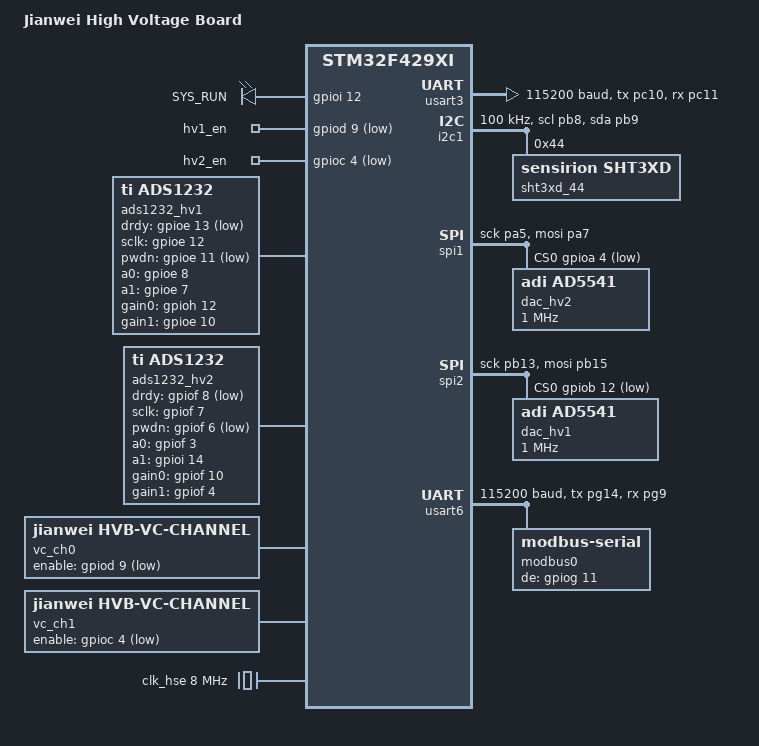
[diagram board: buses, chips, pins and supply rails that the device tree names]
/*
 * Copyright (c) 2026 Jianwei
 *
 * SPDX-License-Identifier: Apache-2.0
 */

/dts-v1/;

#include <st/f4/stm32f429Xi.dtsi>
#include <zephyr/dt-bindings/gpio/gpio.h>

#include "../../../dts/bindings/include/jianwei,vc-channel-capabilities.h"
#include <zephyr/dt-bindings/pinctrl/stm32-pinctrl.h>

/ {
	model = "Jianwei High Voltage Board";
	compatible = "jianwei,jw-hvb";

	chosen {
		zephyr,console = &usart3;
		zephyr,shell-uart = &usart3;
		zephyr,sram = &sram0;
		zephyr,flash = &flash0;
	};

	aliases {
		led0 = &sys_run;
	};

	leds {
		compatible = "gpio-leds";

		sys_run: sys_run {
			gpios = <&gpioi 12 GPIO_ACTIVE_HIGH>;
			label = "SYS_RUN";
		};
	};

	/* HV enable outputs — ACTIVE_LOW (safety-critical: physical HIGH = disabled, LOW = enabled)
	   GPIO_OUTPUT_INACTIVE at boot drives pins HIGH, keeping HV modules safely OFF until
	   explicitly enabled by firmware. */
	hv_enables {
		compatible = "gpio-leds";

		hv1_en: hv1_en {
			gpios = <&gpiod 9 GPIO_ACTIVE_LOW>;
		};

		hv2_en: hv2_en {
			gpios = <&gpioc 4 GPIO_ACTIVE_LOW>;
		};
	};

	/* HV1 ADS1232 ADC — GPIO bit-bang, not SPI */
	ads1232_hv1: ads1232_hv1 {
		compatible = "ti,ads1232";
		status = "okay";
		drdy-gpios = <&gpioe 13 (GPIO_ACTIVE_LOW | GPIO_PULL_UP)>;
		sclk-gpios = <&gpioe 12 GPIO_ACTIVE_HIGH>;
		pwdn-gpios = <&gpioe 11 GPIO_ACTIVE_LOW>;
		a0-gpios = <&gpioe 8 GPIO_ACTIVE_HIGH>;
		a1-gpios = <&gpioe 7 GPIO_ACTIVE_HIGH>;
		gain0-gpios = <&gpioh 12 GPIO_ACTIVE_HIGH>;
		gain1-gpios = <&gpioe 10 GPIO_ACTIVE_HIGH>;
		gain = <1>;
	};

	/* HV2 ADS1232 ADC */
	ads1232_hv2: ads1232_hv2 {
		compatible = "ti,ads1232";
		status = "okay";
		drdy-gpios = <&gpiof 8 (GPIO_ACTIVE_LOW | GPIO_PULL_UP)>;
		sclk-gpios = <&gpiof 7 GPIO_ACTIVE_HIGH>;
		pwdn-gpios = <&gpiof 6 GPIO_ACTIVE_LOW>;
		a0-gpios = <&gpiof 3 GPIO_ACTIVE_HIGH>;
		a1-gpios = <&gpioi 14 GPIO_ACTIVE_HIGH>;
		gain0-gpios = <&gpiof 10 GPIO_ACTIVE_HIGH>;
		gain1-gpios = <&gpiof 4 GPIO_ACTIVE_HIGH>;
		gain = <1>;
	};
};

&clk_hse {
	clock-frequency = <DT_FREQ_M(8)>;
	status = "okay";
};

&pll {
	div-m = <8>;
	mul-n = <336>;
	div-p = <2>;
	div-q = <7>;
	clocks = <&clk_hse>;
	status = "okay";
};

&rcc {
	clocks = <&pll>;
	clock-frequency = <DT_FREQ_M(168)>;
	ahb-prescaler = <1>;
	apb1-prescaler = <4>;
	apb2-prescaler = <2>;
};

&gpiog {
	status = "okay";
};

&gpioi {
	status = "okay";
};

&gpioc {
	status = "okay";
};

&gpiod {
	status = "okay";
};

&gpioa {
	status = "okay";
};

&gpiob {
	status = "okay";
};

&gpioe {
	status = "okay";
};

&gpiof {
	status = "okay";
};

&gpioh {
	status = "okay";
};

&usart3 {
	/*
	 * The debug header nets are named USART1_TX/RX in the schematic, but
	 * PC10/PC11 map to USART3_TX/RX on STM32F429.
	 */
	pinctrl-0 = <&usart3_tx_pc10 &usart3_rx_pc11>;
	pinctrl-names = "default";
	current-speed = <115200>;
	status = "okay";
};

&i2c1 {
	pinctrl-0 = <&i2c1_scl_pb8 &i2c1_sda_pb9>;
	pinctrl-names = "default";
	clock-frequency = <I2C_BITRATE_STANDARD>;
	status = "okay";

	sht3xd_44: sht3xd@44 {
		compatible = "sensirion,sht3xd";
		reg = <0x44>;
	};
};

/* SPI1 — HV2 AD5541 DAC */
&spi1 {
	pinctrl-0 = <&spi1_sck_pa5 &spi1_mosi_pa7>;
	pinctrl-names = "default";
	cs-gpios = <&gpioa 4 GPIO_ACTIVE_LOW>;
	status = "okay";

	dac_hv2: dac@0 {
		compatible = "adi,ad5541";
		reg = <0>;
		spi-max-frequency = <1000000>;
	};
};

/* SPI2 — HV1 AD5541 DAC */
&spi2 {
	pinctrl-0 = <&spi2_sck_pb13 &spi2_mosi_pb15>;
	pinctrl-names = "default";
	cs-gpios = <&gpiob 12 GPIO_ACTIVE_LOW>;
	status = "okay";

	dac_hv1: dac@0 {
		compatible = "adi,ad5541";
		reg = <0>;
		spi-max-frequency = <1000000>;
	};
};

&usart6 {
	pinctrl-0 = <&usart6_tx_pg14 &usart6_rx_pg9>;
	pinctrl-names = "default";
	current-speed = <115200>;
	status = "okay";

	modbus0 {
		compatible = "zephyr,modbus-serial";
		status = "okay";
		de-gpios = <&gpiog 11 GPIO_ACTIVE_HIGH>;
	};
};

&pinctrl {
	usart3_tx_pc10: usart3_tx_pc10 {
		pinmux = <STM32_PINMUX('C', 10, AF7)>;
	};

	usart3_rx_pc11: usart3_rx_pc11 {
		pinmux = <STM32_PINMUX('C', 11, AF7)>;
		bias-pull-up;
	};

	usart6_tx_pg14: usart6_tx_pg14 {
		pinmux = <STM32_PINMUX('G', 14, AF8)>;
	};

	usart6_rx_pg9: usart6_rx_pg9 {
		pinmux = <STM32_PINMUX('G', 9, AF8)>;
		bias-pull-up;
	};

	i2c1_scl_pb8: i2c1_scl_pb8 {
		pinmux = <STM32_PINMUX('B', 8, AF4)>;
		bias-pull-up;
		drive-open-drain;
	};

	i2c1_sda_pb9: i2c1_sda_pb9 {
		pinmux = <STM32_PINMUX('B', 9, AF4)>;
		bias-pull-up;
		drive-open-drain;
	};

	spi1_nss_pa4: spi1_nss_pa4 {
		pinmux = <STM32_PINMUX('A', 4, AF5)>;
	};

	spi1_sck_pa5: spi1_sck_pa5 {
		pinmux = <STM32_PINMUX('A', 5, AF5)>;
	};

	spi1_mosi_pa7: spi1_mosi_pa7 {
		pinmux = <STM32_PINMUX('A', 7, AF5)>;
	};

	spi2_nss_pb12: spi2_nss_pb12 {
		pinmux = <STM32_PINMUX('B', 12, AF5)>;
	};

	spi2_sck_pb13: spi2_sck_pb13 {
		pinmux = <STM32_PINMUX('B', 13, AF5)>;
	};

	spi2_mosi_pb15: spi2_mosi_pb15 {
		pinmux = <STM32_PINMUX('B', 15, AF5)>;
	};
};

/ {
	vc_controller: vc-controller {
		compatible = "jianwei,vc-controller";
		channels = <&vc_ch0 &vc_ch1>;
		status = "okay";
	};

	vc_ch0: vc-channel-0 {
		compatible = "jianwei,hvb-vc-channel";
		channel-index = <0>;
		capabilities = <(CH_CAP_OUTPUT_ENABLE | CH_CAP_RAW_OUTPUT_DRIVE |
				 CH_CAP_VOLTAGE_MEASUREMENT | CH_CAP_CURRENT_MEASUREMENT)>;
		dac = <&dac_hv1>;
		adc = <&ads1232_hv1>;
		enable-gpios = <&gpiod 9 GPIO_ACTIVE_LOW>;
		max-raw-dac = <0xFFFF>;
		sample-rate-ms = <100>;
		status = "okay";
	};

	vc_ch1: vc-channel-1 {
		compatible = "jianwei,hvb-vc-channel";
		channel-index = <1>;
		capabilities = <(CH_CAP_OUTPUT_ENABLE | CH_CAP_RAW_OUTPUT_DRIVE |
				 CH_CAP_VOLTAGE_MEASUREMENT | CH_CAP_CURRENT_MEASUREMENT)>;
		dac = <&dac_hv2>;
		adc = <&ads1232_hv2>;
		enable-gpios = <&gpioc 4 GPIO_ACTIVE_LOW>;
		max-raw-dac = <0xFFFF>;
		sample-rate-ms = <100>;
		status = "okay";
	};
};
